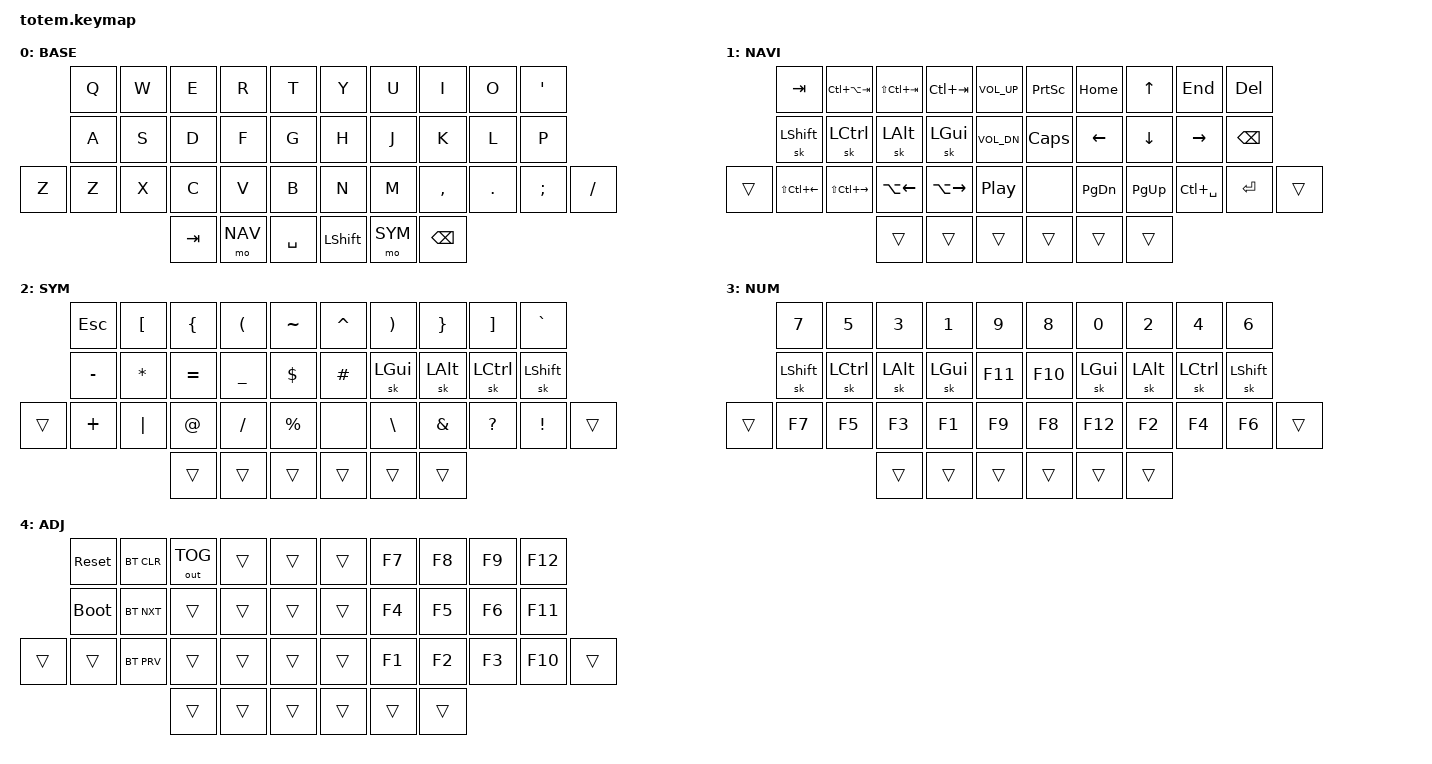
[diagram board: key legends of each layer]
//
//                                                        ▀▀▀▀▀     ▀▀▀▀▀          ▀▀█▀▀
//                                                        ▄▀▀▀▄  ▄  ▄▀▀▀▄  ▄  ▄▀▀▀▄  █  ▄▀▀▀▄
//                                                        █   █  █  █   █  █  █   █  █  █   █
//                                                         ▀▀▀   █   ▀▀▀   █   ▀▀▀   ▀   ▀▀▀
//                                                               █      ▄▄▄█▄▄▄    █   █  
//                                                               ▀      █  █  █     █▄█
//                                                             ▀▀▀▀▀    █  █  █      ▀
//                                                                      ▀  ▀  ▀
//
// ▄▄▄▄▄▄▄▄▄▄▄▄▄▄▄▄▄▄▄▄▄▄▄▄▄▄▄▄▄▄▄▄▄▄▄▄▄▄▄▄▄▄▄▄▄▄▄▄▄▄▄▄▄▄▄▄▄▄▄▄▄▄▄▄▄▄▄▄▄▄▄▄▄▄▄▄▄▄▄▄▄▄▄▄▄▄▄▄▄▄▄▄▄▄▄▄▄▄▄▄▄▄▄▄▄▄▄▄▄▄▄▄▄▄▄▄▄▄▄▄▄▄▄▄▄▄▄▄▄▄▄▄▄▄▄▄▄▄▄▄▄▄▄▄▄▄▄▄▄
       

#include <behaviors.dtsi>
#include <dt-bindings/zmk/keys.h>
#include <dt-bindings/zmk/bt.h>
#include <dt-bindings/zmk/outputs.h>

#define BASE 0
#define NAV  1
#define SYM  2
#define NUM  3
#define ADJ  4

&mt {
  quick-tap-ms = <100>;
  global-quick-tap;
  flavor = "tap-preferred";
  tapping-term-ms = <170>;
};

/ {
    conditional_layers {
        compatible = "zmk,conditional-layers";
        tri_layer {
            if-layers = <1 2>;
            then-layer = <3>;
        };
    };
};

/ {
    combos {
            compatible = "zmk,combos";
            combo_esc {
                timeout-ms = <50>;
                key-positions = <0 1>;
                bindings = <&kp ESC>;
            };
    };
    
        keymap {
                compatible = "zmk,keymap";
// ▄▄▄▄▄▄▄▄▄▄▄▄▄▄▄▄▄▄▄▄▄▄▄▄▄▄▄▄▄▄▄▄▄▄▄▄▄▄▄▄▄▄▄▄▄▄▄▄▄▄▄▄▄▄▄▄▄▄▄▄▄▄▄▄▄▄▄▄▄▄▄▄▄▄▄▄▄▄▄▄▄▄▄▄▄▄▄▄▄▄▄▄▄▄▄▄▄▄▄▄▄▄▄▄▄▄▄▄▄▄▄▄▄▄▄▄▄▄▄▄▄▄▄▄▄▄▄▄▄▄▄▄▄▄▄▄▄▄▄▄▄▄▄▄▄▄▄▄▄

                base_layer {
// ┏━━━━━━━━━━━━━━━━━━━━━━━━━━━━━━━━━━━━━━━┓
label= "BASE"                              ;
// ┗━━━━━━━━━━━━━━━━━━━━━━━━━━━━━━━━━━━━━━━┛
//             ┏━━━━━━━━━━━┳━━━━━━━━━━━┳━━━━━━━━━━━┳━━━━━━━━━━━┳━━━━━━━━━━━┓   ┏━━━━━━━━━━━┳━━━━━━━━━━━┳━━━━━━━━━━━┳━━━━━━━━━━━┳━━━━━━━━━━━┓
//             ┃     Q     ┃     W     ┃     E     ┃     R     ┃     T     ┃   ┃     Y     ┃     U     ┃     I     ┃     O     ┃     '     ┃
//             ┣━━━━━━━━━━━╋━━━━━━━━━━━╋━━━━━━━━━━━╋━━━━━━━━━━━╋━━━━━━━━━━━┫   ┣━━━━━━━━━━━╋━━━━━━━━━━━╋━━━━━━━━━━━╋━━━━━━━━━━━╋━━━━━━━━━━━┫
//             ┃     A     ┃     S     ┃     D     ┃     F     ┃     G     ┃   ┃     H     ┃     J     ┃     K     ┃     L     ┃     P     ┃
// ┏━━━━━━━━━━━╋━━━━━━━━━━━╋━━━━━━━━━━━╋━━━━━━━━━━━╋━━━━━━━━━━━╋━━━━━━━━━━━┫   ┣━━━━━━━━━━━╋━━━━━━━━━━━╋━━━━━━━━━━━╋━━━━━━━━━━━╋━━━━━━━━━━━╋━━━━━━━━━━━┓
// ┃           ┃     Z     ┃     X     ┃     C     ┃     V     ┃     B     ┃   ┃     N     ┃     M     ┃     ,     ┃     .     ┃     ;     ┃           ┃
// ┗━━━━━━━━━━━┻━━━━━━━━━━━┻━━━━━━━━━━━╋━━━━━━━━━━━╋━━━━━━━━━━━╋━━━━━━━━━━━┫   ┣━━━━━━━━━━━╋━━━━━━━━━━━╋━━━━━━━━━━━╋━━━━━━━━━━━┻━━━━━━━━━━━┻━━━━━━━━━━━┛
//                                     ┃    TAB    ┃    NAV    ┃    SPC    ┃   ┃   SHIFT   ┃    SYM    ┃   BKSP    ┃
//                                     ┗━━━━━━━━━━━┻━━━━━━━━━━━┻━━━━━━━━━━━┛   ┗━━━━━━━━━━━┻━━━━━━━━━━━┻━━━━━━━━━━━┛
 bindings = <
// ╷           ╷           ╷           ╷           ╷           ╷           ╷   ╷           ╷           ╷           ╷           ╷           ╷           ╷

                &kp Q       &kp W       &kp E       &kp R       &kp T           &kp Y       &kp U       &kp I       &kp O       &kp APOS
                &kp A       &kp S       &kp D       &kp F       &kp G           &kp H       &kp J       &kp K       &kp L       &kp P
    &kp Z       &kp Z       &kp X       &kp C       &kp V       &kp B           &kp N       &kp M       &kp COMMA   &kp DOT     &kp SEMI    &kp FSLH
                                        &kp TAB     &mo NAV     &kp SPACE       &kp LSHFT   &mo SYM     &kp BSPC
                        >;
                };

// ▄▄▄▄▄▄▄▄▄▄▄▄▄▄▄▄▄▄▄▄▄▄▄▄▄▄▄▄▄▄▄▄▄▄▄▄▄▄▄▄▄▄▄▄▄▄▄▄▄▄▄▄▄▄▄▄▄▄▄▄▄▄▄▄▄▄▄▄▄▄▄▄▄▄▄▄▄▄▄▄▄▄▄▄▄▄▄▄▄▄▄▄▄▄▄▄▄▄▄▄▄▄▄▄▄▄▄▄▄▄▄▄▄▄▄▄▄▄▄▄▄▄▄▄▄▄▄▄▄▄▄▄▄▄▄▄▄▄▄▄▄▄▄▄▄▄▄▄▄


                nav_layer {
// ┏━━━━━━━━━━━━━━━━━━━━━━━━━━━━━━━━━━━━━━━┓
label= "NAVI"                              ;
// ┗━━━━━━━━━━━━━━━━━━━━━━━━━━━━━━━━━━━━━━━┛
//             ┏━━━━━━━━━━━┳━━━━━━━━━━━┳━━━━━━━━━━━┳━━━━━━━━━━━┳━━━━━━━━━━━┓   ┏━━━━━━━━━━━┳━━━━━━━━━━━┳━━━━━━━━━━━┳━━━━━━━━━━━┳━━━━━━━━━━━┓
//             ┃    TAB    ┃   SW_W    ┃   TAB_L   ┃   TAB_R   ┃   VOL+    ┃   ┃   PRSCN   ┃   HOME    ┃    UP     ┃    END    ┃    DEL    ┃
//             ┣━━━━━━━━━━━╋━━━━━━━━━━━╋━━━━━━━━━━━╋━━━━━━━━━━━╋━━━━━━━━━━━┫   ┣━━━━━━━━━━━╋━━━━━━━━━━━╋━━━━━━━━━━━╋━━━━━━━━━━━╋━━━━━━━━━━━┫
//             ┃   OS_S    ┃   OS_C    ┃   OS_A    ┃   OS_G    ┃   VOL-    ┃   ┃   CAPS    ┃   LEFT    ┃   DOWN    ┃   RIGHT   ┃    BSPC   ┃
// ┏━━━━━━━━━━━╋━━━━━━━━━━━╋━━━━━━━━━━━╋━━━━━━━━━━━╋━━━━━━━━━━━╋━━━━━━━━━━━┫   ┣━━━━━━━━━━━╋━━━━━━━━━━━╋━━━━━━━━━━━╋━━━━━━━━━━━╋━━━━━━━━━━━╋━━━━━━━━━━━┓
// ┃           ┃   WORD_L  ┃   WORD_R  ┃  ALT_LT   ┃  ALT_RT   ┃   MUTE    ┃   ┃           ┃   PG_DN   ┃   PG_UP   ┃   EPIC    ┃    RET    ┃           ┃
// ┗━━━━━━━━━━━┻━━━━━━━━━━━┻━━━━━━━━━━━╋━━━━━━━━━━━╋━━━━━━━━━━━╋━━━━━━━━━━━┫   ┣━━━━━━━━━━━╋━━━━━━━━━━━╋━━━━━━━━━━━╋━━━━━━━━━━━┻━━━━━━━━━━━┻━━━━━━━━━━━┛
//                                     ┃   TAB     ┃   TAB     ┃    SPC    ┃   ┃   SHIFT   ┃   SYM     ┃   BKSP    ┃
//                                     ┗━━━━━━━━━━━┻━━━━━━━━━━━┻━━━━━━━━━━━┛   ┗━━━━━━━━━━━┻━━━━━━━━━━━┻━━━━━━━━━━━┛
 bindings = <
// ╷           ╷           ╷           ╷           ╷           ╷           ╷   ╷           ╷           ╷           ╷           ╷           ╷           ╷

            &kp TAB &kp LC(LA(TAB)) &kp LS(LC(TAB)) &kp LC(TAB) &kp C_VOL_UP    &kp PSCRN   &kp HOME    &kp UP      &kp END     &kp DEL
                &sk LSHFT   &sk LCTRL   &sk LALT    &sk LGUI    &kp C_VOL_DN    &kp CAPS    &kp LEFT    &kp DOWN    &kp RIGHT   &kp BSPC
&trans &kp LS(LC(LEFT)) &kp LS(LC(RIGHT)) &kp LA(LEFT) &kp LA(RIGHT) &kp C_PP   &none       &kp PG_DN   &kp PG_UP &kp LC(SPACE) &kp RET     &trans      
                                        &trans      &trans      &trans          &trans      &trans      &trans      
                        >;
                };

// ▄▄▄▄▄▄▄▄▄▄▄▄▄▄▄▄▄▄▄▄▄▄▄▄▄▄▄▄▄▄▄▄▄▄▄▄▄▄▄▄▄▄▄▄▄▄▄▄▄▄▄▄▄▄▄▄▄▄▄▄▄▄▄▄▄▄▄▄▄▄▄▄▄▄▄▄▄▄▄▄▄▄▄▄▄▄▄▄▄▄▄▄▄▄▄▄▄▄▄▄▄▄▄▄▄▄▄▄▄▄▄▄▄▄▄▄▄▄▄▄▄▄▄▄▄▄▄▄▄▄▄▄▄▄▄▄▄▄▄▄▄▄▄▄▄▄▄▄▄


                sim_layer {
// ┏━━━━━━━━━━━━━━━━━━━━━━━━━━━━━━━━━━━━━━━┓
label= "SYM"                               ;
// ┗━━━━━━━━━━━━━━━━━━━━━━━━━━━━━━━━━━━━━━━┛
//             ┏━━━━━━━━━━━┳━━━━━━━━━━━┳━━━━━━━━━━━┳━━━━━━━━━━━┳━━━━━━━━━━━┓   ┏━━━━━━━━━━━┳━━━━━━━━━━━┳━━━━━━━━━━━┳━━━━━━━━━━━┳━━━━━━━━━━━┓
//             ┃    ESC    ┃     [     ┃     {     ┃     (     ┃     ~     ┃   ┃     ^     ┃     )     ┃     }     ┃     ]     ┃     `     ┃
//             ┣━━━━━━━━━━━╋━━━━━━━━━━━╋━━━━━━━━━━━╋━━━━━━━━━━━╋━━━━━━━━━━━┫   ┣━━━━━━━━━━━╋━━━━━━━━━━━╋━━━━━━━━━━━╋━━━━━━━━━━━╋━━━━━━━━━━━┫
//             ┃     -     ┃     *     ┃     =     ┃     _     ┃     $     ┃   ┃     #     ┃   OS_G    ┃   OS_A    ┃   OS_C    ┃   OS_S    ┃
// ┏━━━━━━━━━━━╋━━━━━━━━━━━╋━━━━━━━━━━━╋━━━━━━━━━━━╋━━━━━━━━━━━╋━━━━━━━━━━━┫   ┣━━━━━━━━━━━╋━━━━━━━━━━━╋━━━━━━━━━━━╋━━━━━━━━━━━╋━━━━━━━━━━━╋━━━━━━━━━━━┓
// ┃           ┃     +     ┃     |     ┃     @     ┃     /     ┃     %     ┃   ┃           ┃     \     ┃     &     ┃     ?     ┃     !     ┃           ┃
// ┗━━━━━━━━━━━┻━━━━━━━━━━━┻━━━━━━━━━━━╋━━━━━━━━━━━╋━━━━━━━━━━━╋━━━━━━━━━━━┫   ┣━━━━━━━━━━━╋━━━━━━━━━━━╋━━━━━━━━━━━╋━━━━━━━━━━━┻━━━━━━━━━━━┻━━━━━━━━━━━┛
//                                     ┃   TAB     ┃   TAB     ┃    SPC    ┃   ┃   SHIFT   ┃   SYM     ┃   BKSP    ┃
//                                     ┗━━━━━━━━━━━┻━━━━━━━━━━━┻━━━━━━━━━━━┛   ┗━━━━━━━━━━━┻━━━━━━━━━━━┻━━━━━━━━━━━┛
 bindings = <
// ╷           ╷           ╷           ╷           ╷           ╷           ╷   ╷           ╷           ╷           ╷           ╷           ╷           ╷

                &kp ESC     &kp LBKT    &kp LBRC    &kp LPAR    &kp TILDE       &kp CARET   &kp RPAR    &kp RBRC    &kp RBKT    &kp GRAVE       
                &kp MINUS   &kp STAR    &kp EQUAL   &kp UNDER   &kp DLLR        &kp POUND   &sk LGUI    &sk LALT    &sk LCTRL   &sk LSHFT   
    &trans      &kp PLUS    &kp PIPE    &kp AT      &kp FSLH    &kp PRCNT       &none       &kp BSLH    &kp AMPS    &kp QMARK   &kp EXCL    &trans         
                                        &trans      &trans      &trans          &trans      &trans      &trans     
                        >;
                };

// ▄▄▄▄▄▄▄▄▄▄▄▄▄▄▄▄▄▄▄▄▄▄▄▄▄▄▄▄▄▄▄▄▄▄▄▄▄▄▄▄▄▄▄▄▄▄▄▄▄▄▄▄▄▄▄▄▄▄▄▄▄▄▄▄▄▄▄▄▄▄▄▄▄▄▄▄▄▄▄▄▄▄▄▄▄▄▄▄▄▄▄▄▄▄▄▄▄▄▄▄▄▄▄▄▄▄▄▄▄▄▄▄▄▄▄▄▄▄▄▄▄▄▄▄▄▄▄▄▄▄▄▄▄▄▄▄▄▄▄▄▄▄▄▄▄▄▄▄▄


                num_layer {
// ┏━━━━━━━━━━━━━━━━━━━━━━━━━━━━━━━━━━━━━━━┓
label= "NUM"                               ;
// ┗━━━━━━━━━━━━━━━━━━━━━━━━━━━━━━━━━━━━━━━┛
//             ┏━━━━━━━━━━━┳━━━━━━━━━━━┳━━━━━━━━━━━┳━━━━━━━━━━━┳━━━━━━━━━━━┓   ┏━━━━━━━━━━━┳━━━━━━━━━━━┳━━━━━━━━━━━┳━━━━━━━━━━━┳━━━━━━━━━━━┓
//             ┃     7     ┃     5     ┃     3     ┃     1     ┃     9     ┃   ┃     8     ┃     0     ┃     2     ┃     4     ┃     6     ┃
//             ┣━━━━━━━━━━━╋━━━━━━━━━━━╋━━━━━━━━━━━╋━━━━━━━━━━━╋━━━━━━━━━━━┫   ┣━━━━━━━━━━━╋━━━━━━━━━━━╋━━━━━━━━━━━╋━━━━━━━━━━━╋━━━━━━━━━━━┫
//             ┃   OS_S    ┃   OS_C    ┃   OS_A    ┃   OS_G    ┃    F11    ┃   ┃    F10    ┃   OS_G    ┃   OS_A    ┃   OS_C    ┃   OS_S    ┃
// ┏━━━━━━━━━━━╋━━━━━━━━━━━╋━━━━━━━━━━━╋━━━━━━━━━━━╋━━━━━━━━━━━╋━━━━━━━━━━━┫   ┣━━━━━━━━━━━╋━━━━━━━━━━━╋━━━━━━━━━━━╋━━━━━━━━━━━╋━━━━━━━━━━━╋━━━━━━━━━━━┓
// ┃           ┃    F7     ┃    F5     ┃    F3     ┃    F1     ┃    F9     ┃   ┃    F8     ┃    F12    ┃    F2     ┃    F4     ┃    F6     ┃           ┃
// ┗━━━━━━━━━━━┻━━━━━━━━━━━┻━━━━━━━━━━━╋━━━━━━━━━━━╋━━━━━━━━━━━╋━━━━━━━━━━━┫   ┣━━━━━━━━━━━╋━━━━━━━━━━━╋━━━━━━━━━━━╋━━━━━━━━━━━┻━━━━━━━━━━━┻━━━━━━━━━━━┛
//                                     ┃           ┃           ┃           ┃   ┃           ┃           ┃           ┃
//                                     ┗━━━━━━━━━━━┻━━━━━━━━━━━┻━━━━━━━━━━━┛   ┗━━━━━━━━━━━┻━━━━━━━━━━━┻━━━━━━━━━━━┛
 bindings = <
// ╷           ╷           ╷           ╷           ╷           ╷           ╷   ╷           ╷           ╷           ╷           ╷           ╷           ╷

                &kp N7      &kp N5      &kp N3      &kp N1      &kp N9          &kp N8      &kp N0      &kp N2      &kp N4      &kp N6
                &sk LSHFT   &sk LCTRL   &sk LALT    &sk LGUI    &kp F11         &kp F10     &sk LGUI    &sk LALT    &sk LCTRL   &sk LSHFT  
    &trans      &kp F7      &kp F5      &kp F3      &kp F1      &kp F9          &kp F8      &kp F12     &kp F2      &kp F4      &kp F6      &trans         
                                        &trans      &trans      &trans          &trans      &trans      &trans      
                        >;
                };

// ▄▄▄▄▄▄▄▄▄▄▄▄▄▄▄▄▄▄▄▄▄▄▄▄▄▄▄▄▄▄▄▄▄▄▄▄▄▄▄▄▄▄▄▄▄▄▄▄▄▄▄▄▄▄▄▄▄▄▄▄▄▄▄▄▄▄▄▄▄▄▄▄▄▄▄▄▄▄▄▄▄▄▄▄▄▄▄▄▄▄▄▄▄▄▄▄▄▄▄▄▄▄▄▄▄▄▄▄▄▄▄▄▄▄▄▄▄▄▄▄▄▄▄▄▄▄▄▄▄▄▄▄▄▄▄▄▄▄▄▄▄▄▄▄▄▄▄▄▄


                adjust_layer {
// ┏━━━━━━━━━━━━━━━━━━━━━━━━━━━━━━━━━━━━━━━┓
label= "ADJ"                               ;
// ┗━━━━━━━━━━━━━━━━━━━━━━━━━━━━━━━━━━━━━━━┛
//             ┏━━━━━━━━━━━┳━━━━━━━━━━━┳━━━━━━━━━━━┳━━━━━━━━━━━┳━━━━━━━━━━━┓   ┏━━━━━━━━━━━┳━━━━━━━━━━━┳━━━━━━━━━━━┳━━━━━━━━━━━┳━━━━━━━━━━━┓
//             ┃   RESET   ┃ BT CLEAR  ┃  OUT TOG  ┃           ┃           ┃   ┃           ┃    F7     ┃    F8     ┃    F9     ┃    F12    ┃
//             ┣━━━━━━━━━━━╋━━━━━━━━━━━╋━━━━━━━━━━━╋━━━━━━━━━━━╋━━━━━━━━━━━┫   ┣━━━━━━━━━━━╋━━━━━━━━━━━╋━━━━━━━━━━━╋━━━━━━━━━━━╋━━━━━━━━━━━┫
//             ┃ BOOTLOAD  ┃ BT NEXT   ┃           ┃           ┃           ┃   ┃           ┃    F4     ┃    F5     ┃    F6     ┃    F11    ┃
// ┏━━━━━━━━━━━╋━━━━━━━━━━━╋━━━━━━━━━━━╋━━━━━━━━━━━╋━━━━━━━━━━━╋━━━━━━━━━━━┫   ┣━━━━━━━━━━━╋━━━━━━━━━━━╋━━━━━━━━━━━╋━━━━━━━━━━━╋━━━━━━━━━━━╋━━━━━━━━━━━┓
// ┃           ┃           ┃ BT PREV   ┃           ┃           ┃           ┃   ┃           ┃    F1     ┃    F2     ┃    F3     ┃    F10    ┃           ┃
// ┗━━━━━━━━━━━┻━━━━━━━━━━━┻━━━━━━━━━━━╋━━━━━━━━━━━╋━━━━━━━━━━━╋━━━━━━━━━━━┫   ┣━━━━━━━━━━━╋━━━━━━━━━━━╋━━━━━━━━━━━╋━━━━━━━━━━━┻━━━━━━━━━━━┻━━━━━━━━━━━┛
//                                     ┃           ┃           ┃           ┃   ┃           ┃           ┃           ┃
//                                     ┗━━━━━━━━━━━┻━━━━━━━━━━━┻━━━━━━━━━━━┛   ┗━━━━━━━━━━━┻━━━━━━━━━━━┻━━━━━━━━━━━┛
 bindings = <
// ╷           ╷           ╷           ╷           ╷           ╷           ╷   ╷           ╷           ╷           ╷           ╷           ╷           ╷

                &sys_reset  &bt BT_CLR &out OUT_TOG &trans      &trans          &trans      &kp F7      &kp F8      &kp F9      &kp F12
                &bootloader &bt BT_NXT  &trans      &trans      &trans          &trans      &kp F4      &kp F5      &kp F6      &kp F11  
    &trans      &trans      &bt BT_PRV  &trans      &trans      &trans          &trans      &kp F1      &kp F2      &kp F3      &kp F10     &trans         
                                        &trans      &trans      &trans          &trans      &trans      &trans      
                        >;
                };

// ▄▄▄▄▄▄▄▄▄▄▄▄▄▄▄▄▄▄▄▄▄▄▄▄▄▄▄▄▄▄▄▄▄▄▄▄▄▄▄▄▄▄▄▄▄▄▄▄▄▄▄▄▄▄▄▄▄▄▄▄▄▄▄▄▄▄▄▄▄▄▄▄▄▄▄▄▄▄▄▄▄▄▄▄▄▄▄▄▄▄▄▄▄▄▄▄▄▄▄▄▄▄▄▄▄▄▄▄▄▄▄▄▄▄▄▄▄▄▄▄▄▄▄▄▄▄▄▄▄▄▄▄▄▄▄▄▄▄▄▄▄▄▄▄▄▄▄▄▄
                
        };
};
